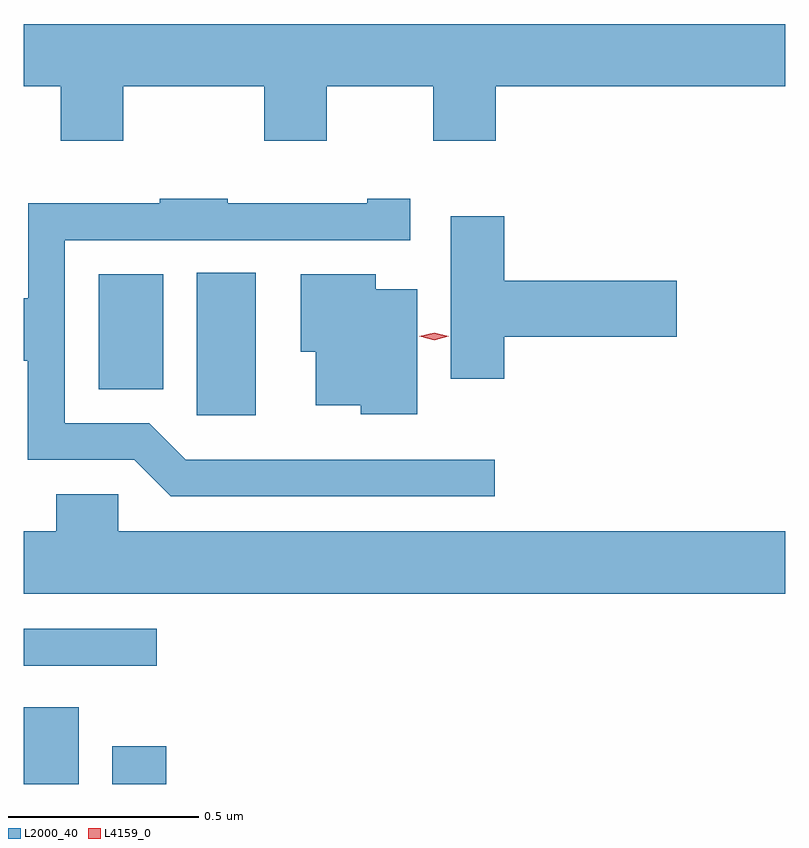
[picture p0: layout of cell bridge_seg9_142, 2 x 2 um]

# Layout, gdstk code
import gdstk
lib = gdstk.Library(unit=1e-6, precision=1e-09)
def R(c, l, rs):  # rectangles x0, y0, x1, y1
    for r in rs: c.add(gdstk.rectangle(r[:2], r[2:], *l))
def P(c, l, *ps):  # polygons
    for p in ps: c.add(gdstk.Polygon(p, *l))
L2000_40 = (2000, 40)
L4159_0 = (4159, 0)

bridge_seg9_142 = lib.new_cell('bridge_seg9_142')
R(bridge_seg9_142, L2000_40, [(425.757,1197.253,425.902,1197.454), (425.99,1197.253,426.131,1197.352), (425.757,1197.564,426.106,1197.66), (426.212,1198.221,426.367,1198.595), (425.954,1198.289,426.124,1198.591)])
P(bridge_seg9_142, L2000_40, [(426.019,1199.084),(426.389,1199.084),(426.389,1198.941),(426.553,1198.941),(426.553,1199.084),(426.833,1199.084),(426.833,1198.941),(426.997,1198.941),(426.997,1199.084),(427.757,1199.084),(427.757,1199.248),(425.757,1199.248),(425.757,1199.084),(425.855,1199.084),(425.855,1198.941),(426.019,1198.941)],
  [(426.994,1198.104),(426.183,1198.104),(426.087,1198.2),(425.865,1198.2),(425.865,1198.68),(426.772,1198.68),(426.772,1198.789),(426.659,1198.789),(426.659,1198.777),(426.293,1198.777),(426.293,1198.789),(426.115,1198.789),(426.115,1198.777),(425.769,1198.777),(425.769,1198.528),(425.757,1198.528),(425.757,1198.364),(425.768,1198.364),(425.768,1198.104),(426.048,1198.104),(426.144,1198.008),(426.994,1198.008)],
  [(427.019,1198.427),(427.471,1198.427),(427.471,1198.574),(427.019,1198.574),(427.019,1198.744),(426.878,1198.744),(426.878,1198.317),(427.019,1198.317)],
  [(426.79,1198.552),(426.682,1198.552),(426.682,1198.591),(426.485,1198.591),(426.485,1198.388),(426.524,1198.388),(426.524,1198.247),(426.642,1198.247),(426.642,1198.223),(426.79,1198.223)],
  [(427.757,1197.916),(426.006,1197.916),(426.006,1198.014),(425.843,1198.014),(425.843,1197.916),(425.757,1197.916),(425.757,1197.752),(427.757,1197.752)])
P(bridge_seg9_142, L4159_0, [(426.835,1198.418),(426.796,1198.428),(426.796,1198.428),(426.796,1198.428),(426.835,1198.438),(426.873,1198.428),(426.873,1198.428),(426.873,1198.428)])

lib.write_gds('bridge_seg9_142.gds')
